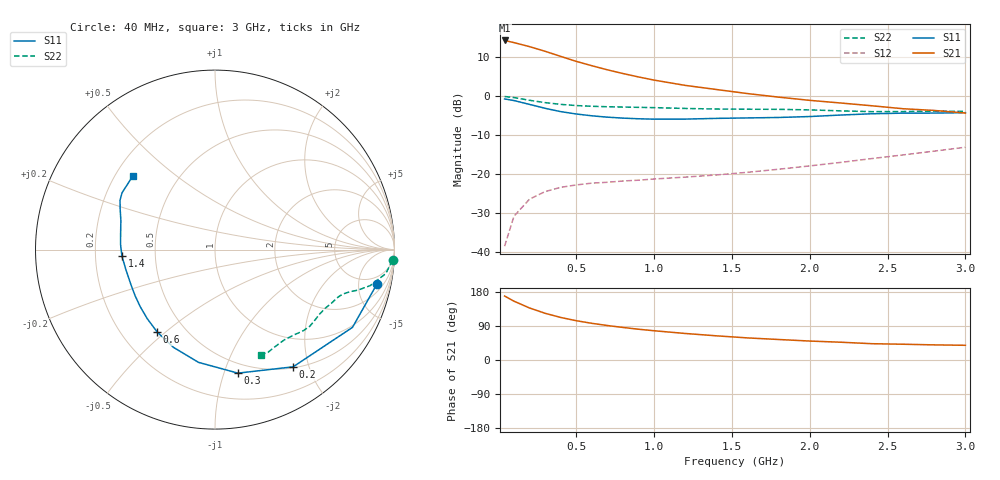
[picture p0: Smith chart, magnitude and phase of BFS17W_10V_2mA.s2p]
! Filename:  BFS17WF.S2P  Version:  4.0
! Philips part #: BFS17W  Date: Jun 1994
! Bias condition: Vce=10V, Ic=2mA
#  MHz  S  MA  R  50
! Freq  S11  S21  S12  S22  !GUM [dB]
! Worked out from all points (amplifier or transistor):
!   21 points, 40 MHz to 3 GHz, reference 50 ohm
!   highest |S21| = 14.3 dB at 40 MHz (marker M1)
!   |S21| within 3 dB of that: start of sweep to 317.5 MHz
!   unconditionally stable (mu >= 1): 831.6 MHz to end of sweep
!   at 300 MHz: K = 0.48, MSG = 18.0 dB, |S12| = -24.4 dB
!   at 1 GHz: K = 1.14, MAG = 10.4 dB, |S12| = -21.2 dB
!   at 3 GHz: K = 1.20, MAG = 1.7 dB, |S12| = -13.1 dB
!   S11 on the Smith chart (normalised r, x): 40 MHz: 3.19, -8.22; 200 MHz: 0.52, -1.75; 300 MHz: 0.41, -1.11; 600 MHz: 0.35, -0.47; 1.4 GHz: 0.32, -0.03; 3 GHz: 0.27, +0.36
40  0.922 -12.1  5.177 168.8  0.012 82.0  0.991 -3.4
100  0.88 -29.5  4.86 155.2  0.029 71.3  0.961 -8.0
200  0.785 -56.3  4.315 137.3  0.048 58.6  0.887 -13.1
300  0.7 -79.5  3.763 123.3  0.06 50.7  0.828 -15.8
400  0.635 -98.3  3.237 112.3  0.068 46.7  0.786 -17.4
500  0.592 -112.9  2.795 103.7  0.073 45.1  0.759 -18.9
600  0.561 -125.0  2.458 96.8  0.077 44.9  0.743 -20.2
700  0.539 -134.5  2.178 91.0  0.079 45.6  0.733 -21.4
800  0.524 -142.7  1.952 85.9  0.082 47.1  0.726 -22.5
900  0.514 -150.0  1.765 81.2  0.084 48.6  0.72 -23.6
1000  0.508 -156.4  1.608 77.2  0.087 50.6  0.714 -24.8
1200  0.509 -167.5  1.376 70.0  0.092 55.0  0.697 -27.7
1400  0.52 -176.1  1.219 63.8  0.098 60.2  0.685 -31.5
1600  0.527 176.8  1.081 58.3  0.106 65.1  0.681 -35.7
1800  0.534 169.9  0.973 54.1  0.116 70.4  0.679 -39.1
2000  0.549 162.8  0.885 50.0  0.128 75.2  0.668 -42.6
2200  0.574 157.0  0.818 46.9  0.142 79.2  0.649 -46.9
2400  0.596 152.6  0.754 43.0  0.159 82.4  0.634 -52.5
2600  0.607 148.6  0.691 41.6  0.177 84.6  0.636 -58.2
2800  0.608 143.7  0.657 39.9  0.198 86.5  0.644 -62.7
3000  0.615 137.9  0.609 38.8  0.222 87.9  0.639 -66.3
